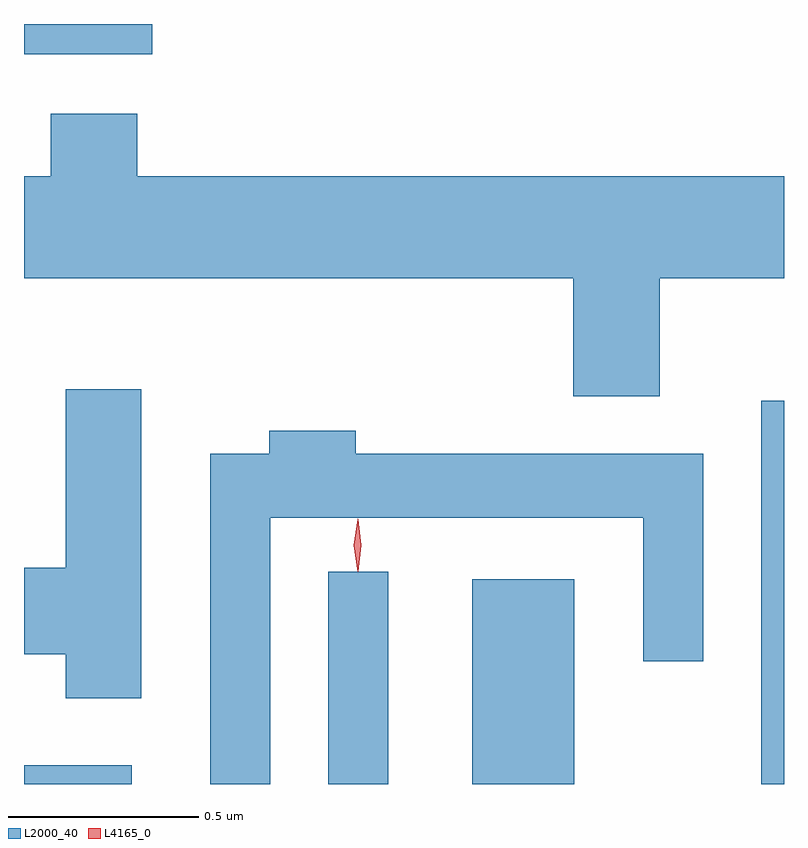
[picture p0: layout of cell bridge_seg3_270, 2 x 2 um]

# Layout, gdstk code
import gdstk
lib = gdstk.Library(unit=1e-6, precision=1e-09)
def R(c, l, rs):  # rectangles x0, y0, x1, y1
    for r in rs: c.add(gdstk.rectangle(r[:2], r[2:], *l))
def P(c, l, *ps):  # polygons
    for p in ps: c.add(gdstk.Polygon(p, *l))
L2000_40 = (2000, 40)
L4165_0 = (4165, 0)

bridge_seg3_270 = lib.new_cell('bridge_seg3_270')
R(bridge_seg3_270, L2000_40, [(1076.176,1129.125,1076.459,1129.174), (1076.976,1129.125,1077.134,1129.683), (1077.356,1129.125,1077.624,1129.664), (1078.116,1129.125,1078.176,1130.133), (1076.176,1131.046,1076.514,1131.125)])
P(bridge_seg3_270, L2000_40, [(1077.849,1130.456),(1078.176,1130.456),(1078.176,1130.724),(1076.474,1130.724),(1076.474,1130.889),(1076.246,1130.889),(1076.246,1130.724),(1076.176,1130.724),(1076.176,1130.456),(1077.621,1130.456),(1077.621,1130.146),(1077.849,1130.146)],
  [(1076.484,1130.164),(1076.286,1130.164),(1076.286,1129.694),(1076.176,1129.694),(1076.176,1129.466),(1076.286,1129.466),(1076.286,1129.351),(1076.484,1129.351)],
  [(1076.824,1129.826),(1077.806,1129.826),(1077.806,1129.448),(1077.964,1129.448),(1077.964,1129.994),(1077.049,1129.994),(1077.049,1130.054),(1076.821,1130.054),(1076.821,1129.994),(1076.666,1129.994),(1076.666,1129.125),(1076.824,1129.125)])
P(bridge_seg3_270, L4165_0, [(1077.054,1129.684),(1077.054,1129.684),(1077.044,1129.753),(1077.054,1129.822),(1077.054,1129.823),(1077.055,1129.822),(1077.064,1129.753),(1077.055,1129.684)])

lib.write_gds('bridge_seg3_270.gds')
